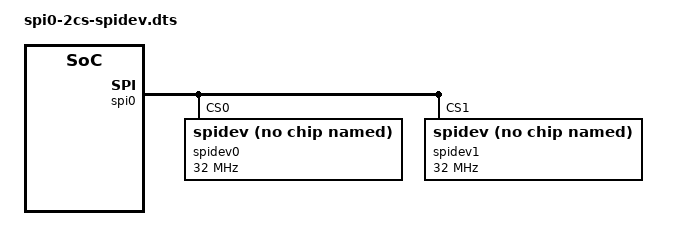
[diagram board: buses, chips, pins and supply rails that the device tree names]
/dts-v1/;
/plugin/;

&spi0 {
    status = "okay";

    spidev0: spidev@0 {
        compatible = "spidev";
        reg = <0>;
        spi-max-frequency = <32000000>;
        status = "okay";
    };

    spidev1: spidev@1 {
        compatible = "spidev";
        reg = <1>;
        spi-max-frequency = <32000000>;
        status = "okay";
    };
};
